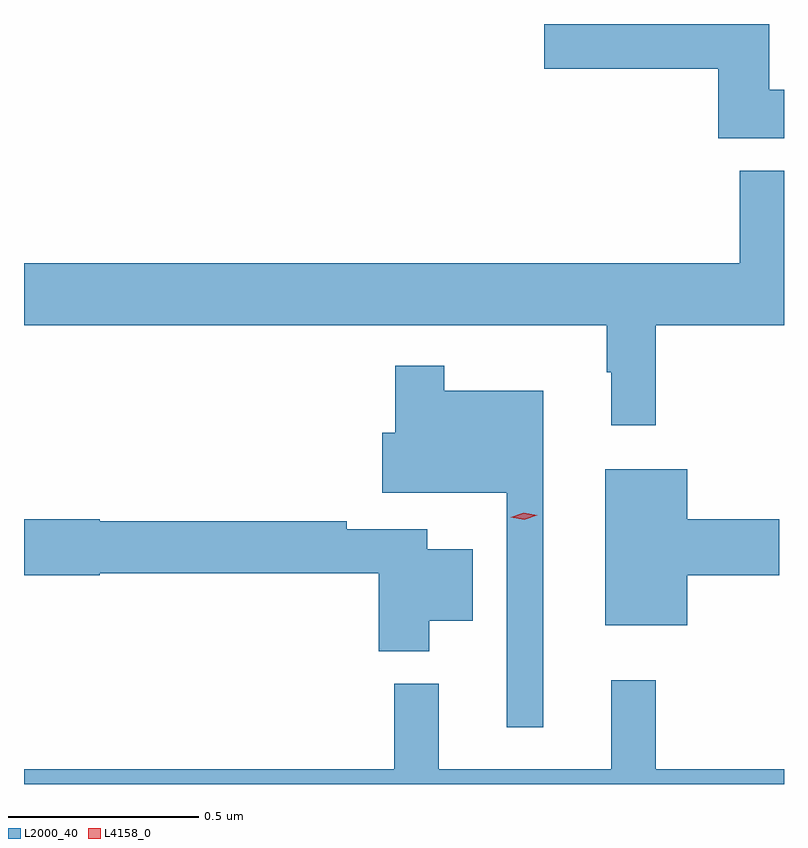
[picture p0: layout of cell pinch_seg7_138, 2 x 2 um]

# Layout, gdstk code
import gdstk
lib = gdstk.Library(unit=1e-6, precision=1e-09)
def P(c, l, *ps):  # polygons
    for p in ps: c.add(gdstk.Polygon(p, *l))
L2000_40 = (2000, 40)
L4158_0 = (4158, 0)

pinch_seg7_138 = lib.new_cell('pinch_seg7_138')
P(pinch_seg7_138, L2000_40, [(1009.789,1039.864),(1009.75,1039.864),(1009.75,1040.037),(1009.158,1040.037),(1009.158,1039.919),(1009.616,1039.919),(1009.616,1039.736),(1009.789,1039.736)],
  [(1009.451,1039.244),(1009.789,1039.244),(1009.789,1039.651),(1009.673,1039.651),(1009.673,1039.408),(1007.789,1039.408),(1007.789,1039.244),(1009.323,1039.244),(1009.323,1039.121),(1009.334,1039.121),(1009.334,1038.981),(1009.451,1038.981)],
  [(1009.156,1039.072),(1008.895,1039.072),(1008.895,1039.138),(1008.766,1039.138),(1008.766,1038.961),(1008.732,1038.961),(1008.732,1038.803),(1009.059,1038.803),(1009.059,1038.186),(1009.156,1038.186)],
  [(1009.534,1038.587),(1009.777,1038.587),(1009.777,1038.734),(1009.534,1038.734),(1009.534,1038.865),(1009.319,1038.865),(1009.319,1038.455),(1009.534,1038.455)],
  [(1008.856,1038.467),(1008.97,1038.467),(1008.97,1038.655),(1008.85,1038.655),(1008.85,1038.708),(1008.638,1038.708),(1008.638,1038.728),(1007.988,1038.728),(1007.988,1038.734),(1007.789,1038.734),(1007.789,1038.587),(1007.988,1038.587),(1007.988,1038.592),(1008.722,1038.592),(1008.722,1038.386),(1008.856,1038.386)],
  [(1009.789,1038.076),(1009.451,1038.076),(1009.451,1038.31),(1009.334,1038.31),(1009.334,1038.076),(1008.881,1038.076),(1008.881,1038.301),(1008.763,1038.301),(1008.763,1038.076),(1007.789,1038.076),(1007.789,1038.037),(1009.789,1038.037)])
P(pinch_seg7_138, L4158_0, [(1009.105,1038.732),(1009.07,1038.739),(1009.069,1038.739),(1009.07,1038.739),(1009.104,1038.751),(1009.14,1038.744),(1009.14,1038.744),(1009.14,1038.744)])

lib.write_gds('pinch_seg7_138.gds')
